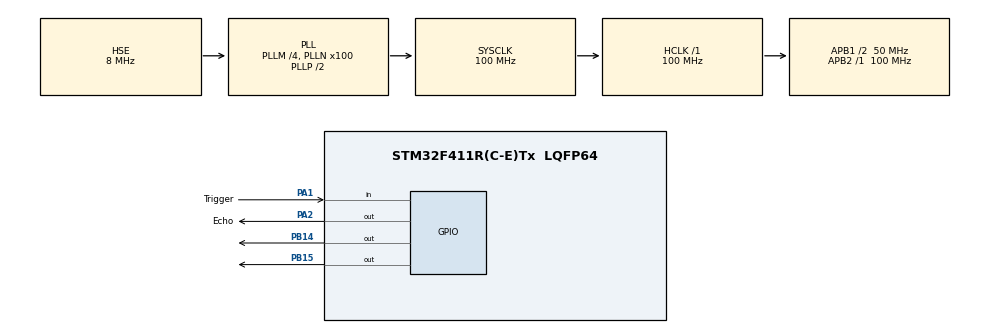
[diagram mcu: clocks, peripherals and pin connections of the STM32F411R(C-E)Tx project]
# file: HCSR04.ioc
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Mcu.Family=STM32F4
RCC.PLLSourceVirtual=RCC_PLLSOURCE_HSE
RCC.CortexFreq_Value=100000000
PH1\ -\ OSC_OUT.Mode=HSE-External-Oscillator
RCC.APB1CLKDivider=RCC_HCLK_DIV2
PB15.Signal=GPIO_Output
RCC.SYSCLKSource=RCC_SYSCLKSOURCE_PLLCLK
ProjectManager.StackSize=0x400
PA13.Signal=SYS_JTMS-SWDIO
PH0\ -\ OSC_IN.Mode=HSE-External-Oscillator
PH0\ -\ OSC_IN.Signal=RCC_OSC_IN
ProjectManager.TargetToolchain=MDK-ARM V5.27
RCC.HCLKFreq_Value=100000000
RCC.APB2TimFreq_Value=100000000
PA1.Signal=GPIO_Input
RCC.AHBFreq_Value=100000000
PB14.Signal=GPIO_Output
RCC.HSE_VALUE=8000000
PH1\ -\ OSC_OUT.Signal=RCC_OSC_OUT
board=NUCLEO-F411RE
RCC.VCOOutputFreq_Value=200000000
RCC.APB2Freq_Value=100000000
PA14.Mode=Serial_Wire
PA1.GPIO_Label=Trigger
PA13.Mode=Serial_Wire
Mcu.Name=STM32F411R(C-E)Tx
PA2.Signal=GPIO_Output
RCC.FLatency-AdvancedSettings=FLASH_LATENCY_3
RCC.48MHZClocksFreq_Value=50000000
RCC.SYSCLKFreq_VALUE=100000000
Mcu.Package=LQFP64
PA2.GPIO_Label=Echo
PA14.Signal=SYS_JTCK-SWCLK
ProjectManager.HeapSize=0x200
RCC.HSI_VALUE=16000000
NVIC.PriorityGroup=NVIC_PRIORITYGROUP_0
RCC.PLLM=4
RCC.PLLN=100
RCC.APB1TimFreq_Value=100000000
RCC.APB1Freq_Value=50000000

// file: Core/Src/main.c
/* USER CODE BEGIN Header */
/**
  ******************************************************************************
  * @file           : main.c
  * @brief          : Main program body
  ******************************************************************************
  * @attention
  *
  * <h2><center>&copy; Copyright (c) 2020 STMicroelectronics.
  * All rights reserved.</center></h2>
  *
  * This software component is licensed by ST under BSD 3-Clause license,
  * the "License"; You may not use this file except in compliance with the
  * License. You may obtain a copy of the License at:
  *                        opensource.org/licenses/BSD-3-Clause
  *
  ******************************************************************************
  */
/* USER CODE END Header */
#include "main.h"

/* USER CODE BEGIN Includes */
//#include "dwt_delay.h"
#include "dwt_stm32_delay.h"

/* USER CODE END Includes */

void SystemClock_Config(void);
static void MX_GPIO_Init(void);
uint32_t readHcsr(void);
/* USER CODE BEGIN PFP */
uint32_t time;
uint16_t distance; //max 0-400 cm
/* USER CODE END PFP */

/* USER CODE BEGIN 0 */
uint32_t readHcsr(){
	uint32_t local_time=0;

	HAL_GPIO_WritePin(GPIOA,Trigger_Pin,GPIO_PIN_SET);
	//DWT_Delay(10);
	DWT_Delay_us(10);
	HAL_GPIO_WritePin(GPIOA,Trigger_Pin,GPIO_PIN_RESET);

	while(!HAL_GPIO_ReadPin(GPIOA,Echo_Pin));

	while(HAL_GPIO_ReadPin(GPIOA,Echo_Pin)){
		local_time++;
		//DWT_Delay(1);
		DWT_Delay_us(1);

	}
	return local_time;

}

/* USER CODE END 0 */

int main(void)
{

  /* MCU Configuration--------------------------------------------------------*/

  /* Reset of all peripherals, Initializes the Flash interface and the Systick. */
  HAL_Init();

  /* Configure the system clock */
  SystemClock_Config();

  /* Initialize all configured peripherals */
  MX_GPIO_Init();
  /* USER CODE BEGIN 2 */
	//DWT_Init();
	DWT_Delay_Init();

  /* USER CODE END 2 */

  /* Infinite loop */
  while (1)
  {

    /* USER CODE BEGIN 3 */
		time=readHcsr();
		distance=time/58;

		if(distance<5 && distance>10){
			HAL_GPIO_WritePin(GPIOB,GPIO_PIN_14,GPIO_PIN_SET);
			HAL_GPIO_WritePin(GPIOB,GPIO_PIN_15,GPIO_PIN_RESET);
			 }

		else
			HAL_GPIO_WritePin(GPIOB,GPIO_PIN_14,GPIO_PIN_RESET);
			HAL_GPIO_WritePin(GPIOB,GPIO_PIN_15,GPIO_PIN_SET);

  /* USER CODE END 3 */
}
	}

void SystemClock_Config(void)
{
  RCC_OscInitTypeDef RCC_OscInitStruct = {0};
  RCC_ClkInitTypeDef RCC_ClkInitStruct = {0};

  /** Configure the main internal regulator output voltage
  */
  __HAL_RCC_PWR_CLK_ENABLE();
  __HAL_PWR_VOLTAGESCALING_CONFIG(PWR_REGULATOR_VOLTAGE_SCALE1);
  /** Initializes the RCC Oscillators according to the specified parameters
  * in the RCC_OscInitTypeDef structure.
  */
  RCC_OscInitStruct.OscillatorType = RCC_OSCILLATORTYPE_HSE;
  RCC_OscInitStruct.HSEState = RCC_HSE_ON;
  RCC_OscInitStruct.PLL.PLLState = RCC_PLL_ON;
  RCC_OscInitStruct.PLL.PLLSource = RCC_PLLSOURCE_HSE;
  RCC_OscInitStruct.PLL.PLLM = 4;
  RCC_OscInitStruct.PLL.PLLN = 100;
  RCC_OscInitStruct.PLL.PLLP = RCC_PLLP_DIV2;
  RCC_OscInitStruct.PLL.PLLQ = 4;
  if (HAL_RCC_OscConfig(&RCC_OscInitStruct) != HAL_OK)
  {
    Error_Handler();
  }
  /** Initializes the CPU, AHB and APB buses clocks
  */
  RCC_ClkInitStruct.ClockType = RCC_CLOCKTYPE_HCLK|RCC_CLOCKTYPE_SYSCLK
                              |RCC_CLOCKTYPE_PCLK1|RCC_CLOCKTYPE_PCLK2;
  RCC_ClkInitStruct.SYSCLKSource = RCC_SYSCLKSOURCE_PLLCLK;
  RCC_ClkInitStruct.AHBCLKDivider = RCC_SYSCLK_DIV1;
  RCC_ClkInitStruct.APB1CLKDivider = RCC_HCLK_DIV2;
  RCC_ClkInitStruct.APB2CLKDivider = RCC_HCLK_DIV1;

  if (HAL_RCC_ClockConfig(&RCC_ClkInitStruct, FLASH_LATENCY_3) != HAL_OK)
  {
    Error_Handler();
  }
}

static void MX_GPIO_Init(void)
{
  GPIO_InitTypeDef GPIO_InitStruct = {0};

  /* GPIO Ports Clock Enable */
  __HAL_RCC_GPIOH_CLK_ENABLE();
  __HAL_RCC_GPIOA_CLK_ENABLE();
  __HAL_RCC_GPIOB_CLK_ENABLE();

  /*Configure GPIO pin Output Level */
  HAL_GPIO_WritePin(Echo_GPIO_Port, Echo_Pin, GPIO_PIN_RESET);

  /*Configure GPIO pin Output Level */
  HAL_GPIO_WritePin(GPIOB, GPIO_PIN_14|GPIO_PIN_15, GPIO_PIN_RESET);

  /*Configure GPIO pin : Trigger_Pin */
  GPIO_InitStruct.Pin = Trigger_Pin;
  GPIO_InitStruct.Mode = GPIO_MODE_INPUT;
  GPIO_InitStruct.Pull = GPIO_NOPULL;
  HAL_GPIO_Init(Trigger_GPIO_Port, &GPIO_InitStruct);

  /*Configure GPIO pin : Echo_Pin */
  GPIO_InitStruct.Pin = Echo_Pin;
  GPIO_InitStruct.Mode = GPIO_MODE_OUTPUT_PP;
  GPIO_InitStruct.Pull = GPIO_NOPULL;
  GPIO_InitStruct.Speed = GPIO_SPEED_FREQ_LOW;
  HAL_GPIO_Init(Echo_GPIO_Port, &GPIO_InitStruct);

  /*Configure GPIO pins : PB14 PB15 */
  GPIO_InitStruct.Pin = GPIO_PIN_14|GPIO_PIN_15;
  GPIO_InitStruct.Mode = GPIO_MODE_OUTPUT_PP;
  GPIO_InitStruct.Pull = GPIO_NOPULL;
  GPIO_InitStruct.Speed = GPIO_SPEED_FREQ_LOW;
  HAL_GPIO_Init(GPIOB, &GPIO_InitStruct);

}

void Error_Handler(void)
{
}

/************************ (C) COPYRIGHT STMicroelectronics *****END OF FILE****/
